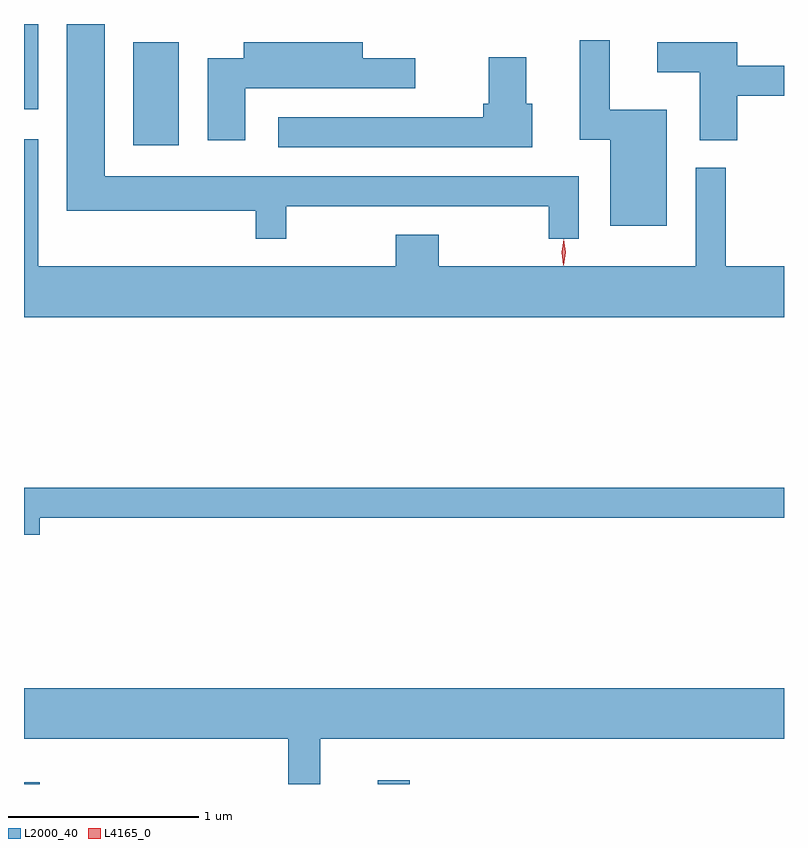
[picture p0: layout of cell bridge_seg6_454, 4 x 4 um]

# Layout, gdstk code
import gdstk
lib = gdstk.Library(unit=1e-6, precision=1e-09)
def R(c, l, rs):  # rectangles x0, y0, x1, y1
    for r in rs: c.add(gdstk.rectangle(r[:2], r[2:], *l))
def P(c, l, *ps):  # polygons
    for p in ps: c.add(gdstk.Polygon(p, *l))
L2000_40 = (2000, 40)
L4165_0 = (4165, 0)

bridge_seg6_454 = lib.new_cell('bridge_seg6_454')
R(bridge_seg6_454, L2000_40, [(664.62,1587.539,664.704,1587.549), (666.481,1587.539,666.649,1587.558), (665.196,1590.901,665.434,1591.444), (664.62,1591.091,664.694,1591.539)])
P(bridge_seg6_454, L2000_40, [(665.999,1590.581),(667.381,1590.581),(667.381,1590.408),(667.539,1590.408),(667.539,1590.739),(665.044,1590.739),(665.044,1591.539),(664.846,1591.539),(664.846,1590.556),(665.841,1590.556),(665.841,1590.408),(665.999,1590.408)],
  [(668.004,1591.089),(667.704,1591.089),(667.704,1591.453),(667.546,1591.453),(667.546,1590.931),(667.706,1590.931),(667.706,1590.476),(668.004,1590.476)],
  [(668.374,1591.161),(668.62,1591.161),(668.62,1591.319),(668.374,1591.319),(668.374,1591.444),(667.953,1591.444),(667.953,1591.286),(668.176,1591.286),(668.176,1590.926),(668.374,1590.926)],
  [(665.784,1591.201),(666.678,1591.201),(666.678,1591.359),(666.404,1591.359),(666.404,1591.444),(665.776,1591.444),(665.776,1591.359),(665.586,1591.359),(665.586,1590.926),(665.784,1590.926)],
  [(667.294,1591.119),(667.264,1591.119),(667.264,1591.364),(667.066,1591.364),(667.066,1591.119),(667.036,1591.119),(667.036,1591.049),(665.958,1591.049),(665.958,1590.891),(667.294,1590.891)],
  [(668.62,1590.264),(668.314,1590.264),(668.314,1590.783),(668.156,1590.783),(668.156,1590.264),(666.804,1590.264),(666.804,1590.429),(666.576,1590.429),(666.576,1590.264),(664.694,1590.264),(664.694,1590.933),(664.62,1590.933),(664.62,1589.996),(668.62,1589.996)],
  [(664.704,1588.941),(668.62,1588.941),(668.62,1589.099),(664.62,1589.099),(664.62,1588.851),(664.704,1588.851)],
  [(664.62,1587.776),(666.011,1587.776),(666.011,1587.539),(666.179,1587.539),(666.179,1587.776),(668.62,1587.776),(668.62,1588.044),(664.62,1588.044)])
P(bridge_seg6_454, L4165_0, [(667.46,1590.273),(667.46,1590.273),(667.45,1590.338),(667.46,1590.403),(667.46,1590.403),(667.461,1590.403),(667.47,1590.338),(667.461,1590.273)],
  [(667.459,1590.268),(667.458,1590.269),(667.45,1590.338),(667.46,1590.406),(667.46,1590.407),(667.46,1590.406),(667.47,1590.338),(667.46,1590.269)])

lib.write_gds('bridge_seg6_454.gds')
